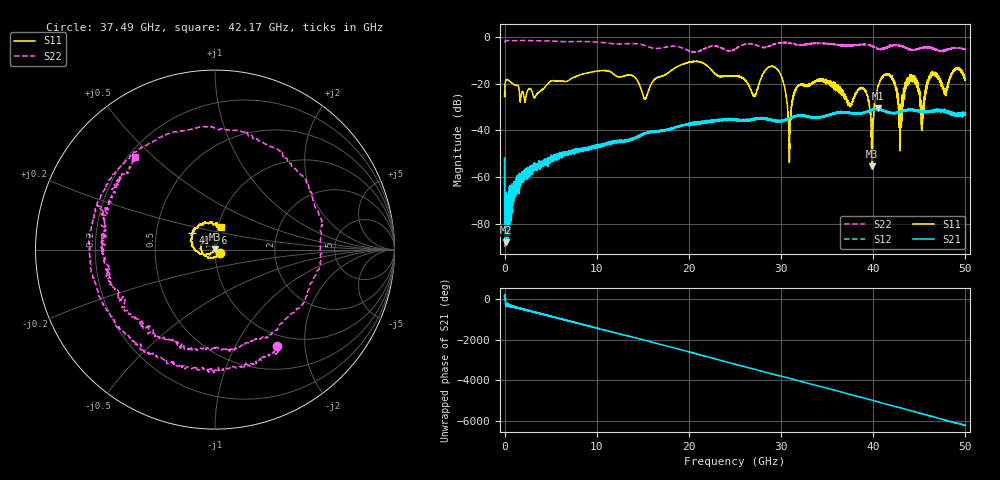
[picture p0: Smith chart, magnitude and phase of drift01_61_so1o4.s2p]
!Created with skrf (http://scikit-rf.org).
# Hz S RI R 50.0
!freq ReS11 ImS11 ReS21 ImS21 ReS12 ImS12 ReS22 ImS22
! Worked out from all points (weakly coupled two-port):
!   10001 points, 300 kHz to 50 GHz, reference 50 ohm
!   highest |S21| = -30.53 dB at 40.55 GHz (marker M1); lowest = -88.1 dB at 110.3 MHz (marker M2)
!   lowest |S11| = -55.4 dB at 39.88 GHz (marker M3), VSWR 1.00, Z = 50 + j0.167 ohm
!   |S11| at or under -10 dB: start of sweep to end of sweep
!   |S22| runs from -6.4 to -1.4 dB; largest |S21 - S12| = 0.005
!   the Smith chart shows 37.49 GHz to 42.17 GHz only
!   S11 on the Smith chart (normalised r, x): 37.49 GHz: 1.05, -0.04; 41.26 GHz: 0.76, +0.15; 42.17 GHz: 1.03, +0.26
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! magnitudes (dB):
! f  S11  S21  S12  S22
! 300 kHz  -24.0  -52.1  -51.4  -2.1
! 110.3 MHz  -18.6  -88.1  -76.3  -1.5
! 8.335 GHz  -15.9  -48.5  -48.1  -1.8
! 16.67 GHz  -17.1  -40.4  -40.3  -4.8
! 25 GHz  -16.6  -35.6  -35.3  -5.0
! 27.09 GHz  -25.2  -35.4  -35.1  -3.0
! 29.44 GHz  -13.2  -35.9  -35.8  -2.7
! 30.91 GHz  -52.3  -35.0  -34.8  -2.5
! 31.69 GHz  -21.6  -33.6  -33.7  -3.2
! 33.34 GHz  -19.8  -34.4  -34.3  -2.7
! 37.49 GHz  -29.7  -32.6  -32.5  -3.9
! 38.97 GHz  -22.3  -32.2  -32.5  -3.0
! 39.88 GHz  -55.4  -31.2  -31.1  -3.8
! 40.55 GHz  -20.9  -30.5  -30.9  -5.0
! 41.26 GHz  -16.1  -31.8  -31.6  -4.8
! 41.67 GHz  -15.8  -32.3  -32.4  -4.3
! 42.17 GHz  -17.9  -32.5  -32.4  -3.3
! 42.99 GHz  -32.5  -31.8  -32.0  -3.5
! 44.03 GHz  -18.1  -31.0  -31.2  -5.3
! 45.32 GHz  -37.9  -32.0  -31.8  -4.5
! 46.42 GHz  -15.7  -31.5  -31.8  -4.8
! 50 GHz  -17.9  -32.9  -32.8  -5.2
